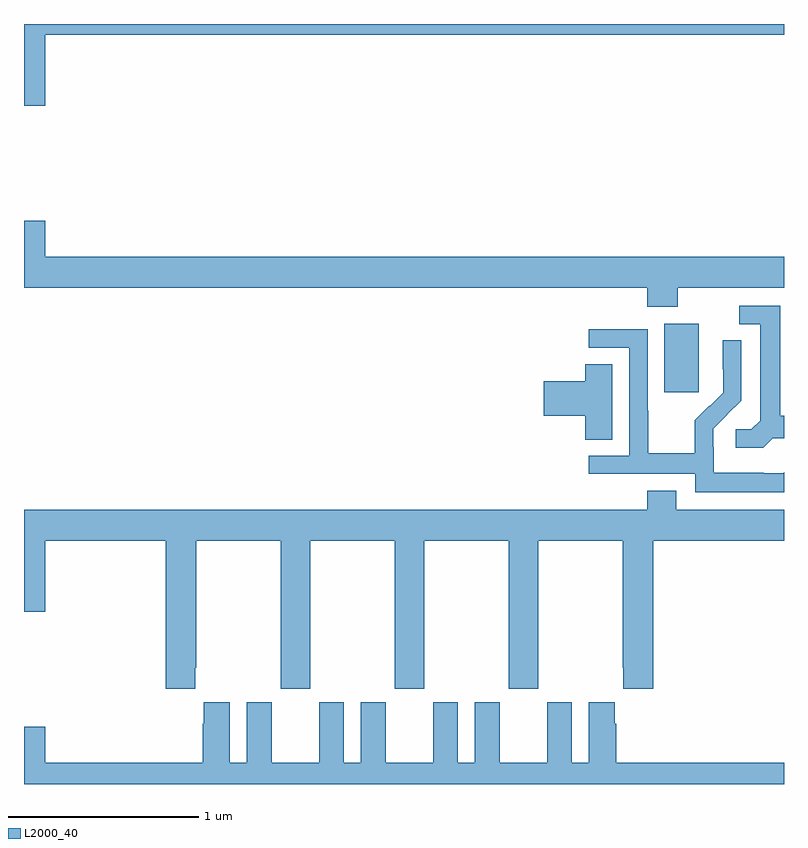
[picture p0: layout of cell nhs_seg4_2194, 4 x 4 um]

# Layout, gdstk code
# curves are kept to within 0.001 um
import gdstk
lib = gdstk.Library(unit=1e-6, precision=1e-09)
def R(c, l, rs):  # rectangles x0, y0, x1, y1
    for r in rs: c.add(gdstk.rectangle(r[:2], r[2:], *l))
def P(c, l, *ps):  # polygons
    for p in ps: c.add(gdstk.Polygon(p, *l))
L2000_40 = (2000, 40)

nhs_seg4_2194 = lib.new_cell('nhs_seg4_2194')
R(nhs_seg4_2194, L2000_40, [(228.371,770.961,228.55,771.322)])
P(nhs_seg4_2194, L2000_40, [(225.112,772.844),(229,772.844),(229,772.9),(225,772.9),(225,772.47),(225.112,772.47)],
  [(228.441,771.512),(229,771.512),(229,771.676),(225.112,771.676),(225.112,771.865),(225,771.865),(225,771.512),(228.281,771.512),(228.281,771.413),(228.441,771.413)],
  [(228.942,770.721),(229,770.721),(229,770.837),(228.979,770.837),(228.979,771.417),(228.765,771.417),(228.765,771.321),(228.875,771.321),(228.875,770.813),(228.828,770.766),(228.747,770.766),(228.747,770.669),(228.89,770.669)],
  [(229,770.542),(228.993,770.535),(228.893,770.535),(228.893,770.539),(228.63,770.539),(228.63,770.673),(228.628,770.673),(228.628,770.77),(228.774,770.918),(228.774,771.236),(228.678,771.236),(228.678,771.082),(228.68,771.082),(228.68,770.96),(228.609,770.889),(228.606,770.892),(228.529,770.815),(228.529,770.641),(228.285,770.641),(228.285,770.864),(228.282,770.864),(228.282,771.294),(227.973,771.294),(227.973,771.195),(228.186,771.195),(228.186,770.628),(227.973,770.628),(227.973,770.532),(228.534,770.532),(228.534,770.435),(229,770.435)],
  [(228.097,771.11),(227.954,771.11),(227.954,771.02),(227.736,771.02),(227.736,770.837),(227.954,770.837),(227.954,770.713),(228.097,770.713)],
  [(225.901,769.513),(225.906,769.513),(225.906,770.18),(226.351,770.18),(226.351,769.401),(226.506,769.401),(226.506,770.18),(226.951,770.18),(226.951,769.401),(227.106,769.401),(227.106,770.18),(227.551,770.18),(227.551,769.401),(227.706,769.401),(227.706,770.18),(228.151,770.18),(228.151,769.513),(228.155,769.513),(228.155,769.401),(228.311,769.401),(228.311,770.18),(229,770.18),(229,770.344),(228.433,770.344),(228.433,770.443),(228.281,770.443),(228.281,770.344),(225,770.344),(225,769.806),(225.112,769.806),(225.112,770.18),(225.746,770.18),(225.746,769.401),(225.901,769.401)],
  [(229,769.012),(228.116,769.012),(228.116,769.217),(228.109,769.217),(228.109,769.33),(227.972,769.33),(227.972,769.012),(227.884,769.012),(227.884,769.33),(227.753,769.33),(227.753,769.012),(227.503,769.012),(227.503,769.33),(227.372,769.33),(227.372,769.012),(227.284,769.012),(227.284,769.33),(227.153,769.33),(227.153,769.012),(226.903,769.012),(226.903,769.33),(226.772,769.33),(226.772,769.012),(226.684,769.012),(226.684,769.33),(226.553,769.33),(226.553,769.012),(226.303,769.012),(226.303,769.33),(226.172,769.33),(226.172,769.012),(226.084,769.012),(226.084,769.33),(225.947,769.33),(225.947,769.217),(225.941,769.217),(225.941,769.012),(225.112,769.012),(225.112,769.201),(225,769.201),(225,768.9),(229,768.9)])

lib.write_gds('nhs_seg4_2194.gds')
